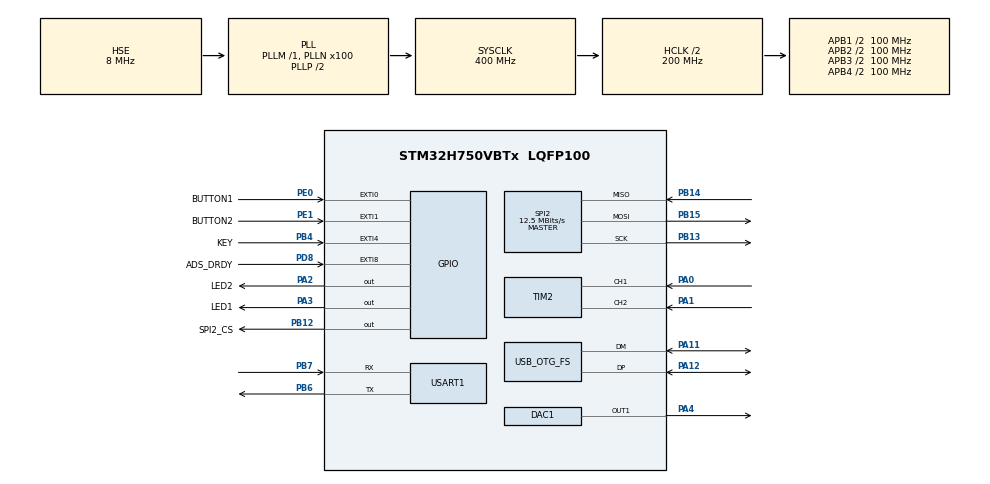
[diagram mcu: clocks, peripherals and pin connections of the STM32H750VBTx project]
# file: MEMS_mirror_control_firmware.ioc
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DAC1.DAC_Channel-DAC_OUT1=DAC_CHANNEL_1
DAC1.DAC_Trigger-DAC_OUT1=DAC_TRIGGER_T6_TRGO
Dma.DAC1_CH1.0.Direction=DMA_MEMORY_TO_PERIPH
Dma.DAC1_CH1.0.EventEnable=DISABLE
Dma.DAC1_CH1.0.FIFOMode=DMA_FIFOMODE_DISABLE
Dma.DAC1_CH1.0.Instance=DMA1_Stream0
Dma.DAC1_CH1.0.MemDataAlignment=DMA_MDATAALIGN_HALFWORD
Dma.DAC1_CH1.0.MemInc=DMA_MINC_ENABLE
Dma.DAC1_CH1.0.Mode=DMA_CIRCULAR
Dma.DAC1_CH1.0.PeriphDataAlignment=DMA_PDATAALIGN_HALFWORD
Dma.DAC1_CH1.0.PeriphInc=DMA_PINC_DISABLE
Dma.DAC1_CH1.0.Polarity=HAL_DMAMUX_REQ_GEN_RISING
Dma.DAC1_CH1.0.Priority=DMA_PRIORITY_LOW
Dma.DAC1_CH1.0.RequestNumber=1
Dma.DAC1_CH1.0.SignalID=NONE
Dma.DAC1_CH1.0.SyncEnable=DISABLE
Dma.DAC1_CH1.0.SyncPolarity=HAL_DMAMUX_SYNC_NO_EVENT
Dma.DAC1_CH1.0.SyncRequestNumber=1
Dma.DAC1_CH1.0.SyncSignalID=NONE
Dma.Request0=DAC1_CH1
Mcu.Family=STM32H7
Mcu.Name=STM32H750VBTx
Mcu.Package=LQFP100
NVIC.DMA1_Stream0_IRQn=true\:3\:0\:true\:false\:true\:false\:true\:true
NVIC.EXTI0_IRQn=true\:4\:0\:true\:false\:true\:true\:true\:false
NVIC.EXTI1_IRQn=true\:4\:0\:true\:false\:true\:true\:true\:false
NVIC.EXTI4_IRQn=true\:4\:0\:true\:false\:true\:true\:true\:false
NVIC.EXTI9_5_IRQn=true\:6\:0\:true\:false\:true\:true\:true\:false
NVIC.OTG_FS_IRQn=true\:2\:0\:true\:false\:true\:true\:true\:true
NVIC.PriorityGroup=NVIC_PRIORITYGROUP_4
NVIC.TIM2_IRQn=true\:0\:0\:false\:false\:true\:true\:true\:true
PA0.Signal=S_TIM2_CH1_ETR
PA1.Signal=S_TIM2_CH2
PA11.Mode=Device_Only
PA11.Signal=USB_OTG_FS_DM
PA12.Mode=Device_Only
PA12.Signal=USB_OTG_FS_DP
PA13\ (JTMS/SWDIO).Mode=Serial_Wire
PA13\ (JTMS/SWDIO).Signal=DEBUG_JTMS-SWDIO
PA14\ (JTCK/SWCLK).Mode=Serial_Wire
PA14\ (JTCK/SWCLK).Signal=DEBUG_JTCK-SWCLK
PA2.GPIO_Label=LED2
PA2.Signal=GPIO_Output
PA3.GPIO_Label=LED1
PA3.Signal=GPIO_Output
PA4.Signal=COMP_DAC11_group
PB12.GPIO_Label=SPI2_CS
PB12.GPIO_Speed=GPIO_SPEED_FREQ_VERY_HIGH
PB12.PinState=GPIO_PIN_SET
PB12.Signal=GPIO_Output
PB13.Mode=Full_Duplex_Master
PB13.Signal=SPI2_SCK
PB14.Mode=Full_Duplex_Master
PB14.Signal=SPI2_MISO
PB15.Mode=Full_Duplex_Master
PB15.Signal=SPI2_MOSI
PB4\ (NJTRST).GPIO_Label=KEY
PB4\ (NJTRST).GPIO_ModeDefaultEXTI=GPIO_MODE_IT_FALLING
PB4\ (NJTRST).Signal=GPXTI4
PB6.Mode=Asynchronous
PB6.Signal=USART1_TX
PB7.Mode=Asynchronous
PB7.Signal=USART1_RX
PD8.GPIO_Label=ADS_DRDY
PD8.GPIO_ModeDefaultEXTI=GPIO_MODE_IT_FALLING
PD8.Signal=GPXTI8
PE0.GPIO_Label=BUTTON1
PE0.Signal=GPXTI0
PE1.GPIO_Label=BUTTON2
PE1.Signal=GPXTI1
PH0-OSC_IN\ (PH0).Mode=HSE-External-Oscillator
PH0-OSC_IN\ (PH0).Signal=RCC_OSC_IN
PH1-OSC_OUT\ (PH1).Mode=HSE-External-Oscillator
PH1-OSC_OUT\ (PH1).Signal=RCC_OSC_OUT
ProjectManager.HeapSize=0x200
ProjectManager.StackSize=0x400
ProjectManager.TargetToolchain=MDK-ARM V5.32
RCC.ADCFreq_Value=16125000
RCC.APB1Freq_Value=100000000
RCC.APB2Freq_Value=100000000
RCC.APB3Freq_Value=100000000
RCC.APB4Freq_Value=100000000
RCC.CortexFreq_Value=400000000
RCC.D1PPRE=RCC_APB3_DIV2
RCC.D2PPRE1=RCC_APB1_DIV2
RCC.D2PPRE2=RCC_APB2_DIV2
RCC.D3PPRE=RCC_APB4_DIV2
RCC.DIVM1=1
RCC.DIVN1=100
RCC.DIVQ1=4
RCC.HCLKFreq_Value=200000000
RCC.HPRE=RCC_HCLK_DIV2
RCC.HSE_VALUE=8000000
RCC.PLLFRACN=0
RCC.PLLSourceVirtual=RCC_PLLSOURCE_HSE
RCC.SYSCLKFreq_VALUE=400000000
RCC.SYSCLKSource=RCC_SYSCLKSOURCE_PLLCLK
RCC.USBCLockSelection=RCC_USBCLKSOURCE_HSI48
RCC.USBFreq_Value=48000000
SH.COMP_DAC11_group.0=DAC1_OUT1,DAC_OUT1
SH.S_TIM2_CH1_ETR.0=TIM2_CH1,Encoder_Interface
SH.S_TIM2_CH2.0=TIM2_CH2,Encoder_Interface
SPI2.BaudRatePrescaler=SPI_BAUDRATEPRESCALER_16
SPI2.CLKPhase=SPI_PHASE_2EDGE
SPI2.CalculateBaudRate=12.5 MBits/s
SPI2.DataSize=SPI_DATASIZE_8BIT
SPI2.Direction=SPI_DIRECTION_2LINES
SPI2.Mode=SPI_MODE_MASTER
SPI2.NSSPMode=SPI_NSS_PULSE_DISABLE
SPI2.VirtualType=VM_MASTER
TIM2.EncoderMode=TIM_ENCODERMODE_TI12
TIM6.AutoReloadPreload=TIM_AUTORELOAD_PRELOAD_ENABLE
TIM6.Period=4324
TIM6.Prescaler=0
TIM6.TIM_MasterOutputTrigger=TIM_TRGO_UPDATE
USART1.VirtualMode-Asynchronous=VM_ASYNC
USB_DEVICE.CLASS_NAME_FS=CDC
USB_DEVICE.VirtualMode-CDC_FS=Cdc
USB_DEVICE.VirtualModeFS=Cdc_FS
USB_OTG_FS.VirtualMode=Device_Only
VP_TIM6_VS_ClockSourceINT.Mode=Enable_Timer
VP_USB_DEVICE_VS_USB_DEVICE_CDC_FS.Mode=CDC_FS
board=custom

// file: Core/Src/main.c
/* USER CODE BEGIN Header */
/**
  ******************************************************************************
  * @file           : main.c
  * @brief          : Main program body
  ******************************************************************************
  * @attention
  *
  * Copyright (c) 2023 STMicroelectronics.
  * All rights reserved.
  *
  * This software is licensed under terms that can be found in the LICENSE file
  * in the root directory of this software component.
  * If no LICENSE file comes with this software, it is provided AS-IS.
  *
  ******************************************************************************
  */
/* USER CODE END Header */
#include "main.h"
#include "dac.h"
#include "dma.h"
#include "spi.h"
#include "tim.h"
#include "usart.h"
#include "usb_device.h"
#include "gpio.h"

/* USER CODE BEGIN Includes */
#include "stdio.h"
#include "ADS1299_Library.h"
#include "lwrb.h"
#include "Debug.h"
#include "usbd_cdc_if.h"
/* USER CODE END Includes */

/* USER CODE BEGIN PTD */
uint8_t Direction;
uint32_t CaptureNumber;
/* USER CODE END PTD */

/* USER CODE BEGIN PD */
//const uint16_t Sine12bit[100]={
//0x0800,0x0881,0x0901,0x0980,0x09FD,0x0A79,0x0AF2,0x0B68,0x0BDA,0x0C49,
//0x0CB3,0x0D19,0x0D79,0x0DD4,0x0E29,0x0E78,0x0EC0,0x0F02,0x0F3C,0x0F6F,
//0x0F9B,0x0FBF,0x0FDB,0x0FEF,0x0FFB,0x0FFF,0x0FFB,0x0FEF,0x0FDB,0x0FBF,
//0x0F9B,0x0F6F,0x0F3C,0x0F02,0x0EC0,0x0E78,0x0E29,0x0DD4,0x0D79,0x0D19,
//0x0CB3,0x0C49,0x0BDA,0x0B68,0x0AF2,0x0A79,0x09FD,0x0980,0x0901,0x0881,
//0x0800,0x077F,0x06FF,0x0680,0x0603,0x0587,0x050E,0x0498,0x0426,0x03B7,
//0x034D,0x02E7,0x0287,0x022C,0x01D7,0x0188,0x0140,0x00FE,0x00C4,0x0091,
//0x0065,0x0041,0x0025,0x0011,0x0005,0x0001,0x0005,0x0011,0x0025,0x0041,
//0x0065,0x0091,0x00C4,0x00FE,0x0140,0x0188,0x01D7,0x022C,0x0287,0x02E7,
//0x034D,0x03B7,0x0426,0x0498,0x050E,0x0587,0x0603,0x0680,0x06FF,0x077F,
//};
uint16_t DualSine12bit[100] __attribute__ ((at(0x24020000)));
/* USER CODE END PD */

/* USER CODE BEGIN PM */
/* 固件版本*/
uint8_t version32[10]={"27.12.23"};
/* USER CODE END PM */

/* USER CODE BEGIN PV */
/** 单次数据发送长度 */
#define TEST_SEND_DATA_SIZE   1024
uint8_t  snd_data[TEST_SEND_DATA_SIZE];
/*--USB CDC资源部分--*/
		static size_t full_len;
		/** Ringbuf */
		lwrb_t lwrb_buff;
		uint8_t src_buff_data[100*1024] __attribute__ ((at(0x24000000)));//AXI SRAM
    /*存储每次DRDY采集的数据*/
    extern uint8_t eCon_Message[150];
    /*采样率选项，同时连接*/
    uint8_t SampleRate500[8]={0x55,0x66,0x52,0x41,0x54,0x45,0x01,0x0A};//0x52 0x41 0x54 0x45 = RATE
    uint8_t SampleRate1000[8]={0x55,0x66,0x52,0x41,0x54,0x45,0x02,0x0A};
    uint8_t SampleRate2000[8]={0x55,0x66,0x52,0x41,0x54,0x45,0x03,0x0A};
		uint8_t SampleRate4000[8]={0x55,0x66,0x52,0x41,0x54,0x45,0x04,0x0A};
		uint8_t SampleRate8000[8]={0x55,0x66,0x52,0x41,0x54,0x45,0x05,0x0A};
		uint8_t SampleRate16000[8]={0x55,0x66,0x52,0x41,0x54,0x45,0x06,0x0A};
    /*工作模式选项*/
    uint8_t Mode_impedance[8]={0x55,0x66,0x4D,0x4F,0x44,0x45,0x5A,0x0A};//0x4D 0x4F 0x44 0x45 = MODE
    uint8_t Mode_wave[8]={0x55,0x66,0x4D,0x4F,0x44,0x45,0x57,0x0A};
    uint8_t Mode_internalshort[8]={0x55,0x66,0x4D,0x4F,0x44,0x45,0x53,0x0A};
    uint8_t Mode_testsignal[8]={0x55,0x66,0x4D,0x4F,0x44,0x45,0x54,0x0A};
    uint8_t Mode_stop[8]={0x55,0x66,0x4D,0x4F,0x44,0x45,0x52,0x0A};
        /**当前工作状态*/
        uint8_t FT232_EEGstate;//"Z","W","S","T","R"
    /*断开连接*/
    uint8_t FT232_disconnect[8]={0x55,0x66,0x44,0x49,0x53,0x43,0x01,0x0A};//0x44 0x49 0x53 0x43 = DISC
        /**当前断开连接标志位*/
        uint8_t FT232_DISCflag;
    /*传输方式状态定义*/
    #define M8266Wireless  0
    #define FT232Wire      1
    /*数据传输方式*/
    uint8_t Transmission_form = M8266Wireless;
    /*采样率寄存器*/
    uint8_t SampleRateReg = SAMPLE_RATE_500;
/* USER CODE END PV */

void SystemClock_Config(void);

/* USER CODE BEGIN 0 */
extern uint8_t usb_rx_data[20];
uint8_t CDC_Transmit_FS(uint8_t* Buf, uint16_t Len);

extern USBD_HandleTypeDef hUsbDeviceFS;
extern uint8_t CDC_RX_flag;
void rx_commd()
{
	USBD_CDC_HandleTypeDef *hcdc = (USBD_CDC_HandleTypeDef*)hUsbDeviceFS.pClassData;
	if((CDC_RX_flag == 1) && (hcdc->TxState == 0)){
		CDC_RX_flag = 0;
        /**采样率msg*/
        if((memcmp(SampleRate500,usb_rx_data,8) == 0 ) || \
            (memcmp(SampleRate1000,usb_rx_data,8) == 0 ) || \
						(memcmp(SampleRate2000,usb_rx_data,8) == 0 ) || \
						(memcmp(SampleRate4000,usb_rx_data,8) == 0 ) || \
						(memcmp(SampleRate8000,usb_rx_data,8) == 0 ) || \
            (memcmp(SampleRate16000,usb_rx_data,8) == 0 ))    {
            CDC_Transmit_FS(usb_rx_data, 8);//Echo
            switch (usb_rx_data[6]) {
                case 1:
                    SampleRateReg = SAMPLE_RATE_500;
                    break;
                case 2:
                    SampleRateReg = SAMPLE_RATE_1000;
                    break;
                case 3:
                    SampleRateReg = SAMPLE_RATE_2000;
										break;
                case 4:
                    SampleRateReg = SAMPLE_RATE_4000;
										break;
                case 5:
                    SampleRateReg = SAMPLE_RATE_8000;
                    break;
                case 6:
                    SampleRateReg = SAMPLE_RATE_16000;
                    break;
                default:;
            }
            Transmission_form = FT232Wire;
            FT232_EEGstate = 'R';//连接之后ADS1299停止运行
        }

        if(Transmission_form == FT232Wire){
            /**运行模式msg*/
            if((memcmp(Mode_wave,usb_rx_data,8) == 0 ) || \
                (memcmp(Mode_impedance,usb_rx_data,8) == 0 ) || \
                (memcmp(Mode_internalshort,usb_rx_data,8) == 0 ) || \
                (memcmp(Mode_testsignal,usb_rx_data,8) == 0 ) || \
                (memcmp(Mode_stop,usb_rx_data,8) == 0 ) )
            {
                CDC_Transmit_FS(usb_rx_data, 8);//Echo
                switch (usb_rx_data[6]) {
                    case 'W':
                        FT232_EEGstate = 'W';
                        break;
                    case 'Z':
                        FT232_EEGstate = 'Z';
                        break;
                    case 'S':
                        FT232_EEGstate = 'S';
                        break;
                    case 'T':
                        FT232_EEGstate = 'T';
                        break;
                    case 'R':
                        FT232_EEGstate = 'R';
                        break;
                    default:;
                }//end of switch
            }
            /**断开连接msg*/
            if(memcmp(FT232_disconnect,usb_rx_data,8) == 0 ){
                FT232_DISCflag = 1;
                CDC_Transmit_FS(usb_rx_data, 8);//Echo
            }
        }//end of if(Transmission_form == FT232Wire)

        memset(usb_rx_data,0,sizeof(usb_rx_data));//清空接收数组
		}
}
/* USER CODE END 0 */

int main(void)
{

  /* MCU Configuration--------------------------------------------------------*/

  /* Reset of all peripherals, Initializes the Flash interface and the Systick. */
  HAL_Init();

  /* Configure the system clock */
  SystemClock_Config();

  /* Initialize all configured peripherals */
  MX_GPIO_Init();
  MX_DMA_Init();
  MX_USB_DEVICE_Init();
  MX_USART1_UART_Init();
  MX_DAC1_Init();
  MX_TIM6_Init();
  MX_SPI2_Init();
  MX_TIM2_Init();
  /* USER CODE BEGIN 2 */
		__HAL_GPIO_EXTI_CLEAR_IT(KEY_Pin);
		NVIC_ClearPendingIRQ(EXTI4_IRQn);
		HAL_NVIC_EnableIRQ(EXTI4_IRQn);
		/*lwrb初始化*/
		lwrb_init(&lwrb_buff, src_buff_data, sizeof(src_buff_data));
		/*Ads1299中断配置及初始化*/
		__HAL_GPIO_EXTI_CLEAR_IT(ADS_DRDY_Pin);
		NVIC_ClearPendingIRQ(EXTI9_5_IRQn);
		HAL_NVIC_EnableIRQ(EXTI9_5_IRQn);
		ADS_state_choose(STOP, SAMPLE_RATE_500);//进入低功耗模式

		_MSG_DBG("App start\n");
		/*开启DAC*/
		for (uint8_t Idx = 0; Idx <50; Idx++)
		{
			DualSine12bit[Idx] =50*sin(2*3.14159265358979f/50*Idx)+250;
		}
		HAL_TIM_Base_Start(&htim6);
		HAL_DAC_Start_DMA(&hdac1,DAC_CHANNEL_1,(uint32_t *)DualSine12bit,50,DAC_ALIGN_12B_R);

HAL_TIM_Encoder_Start(&htim2,TIM_CHANNEL_1|TIM_CHANNEL_2);

  /* USER CODE END 2 */

  /* Infinite loop */
  while (1)
  {

    /* USER CODE BEGIN 3 */
		rx_commd();
    /*有线传输*/
    if(Transmission_form == FT232Wire){
        /*数据发送*/
				full_len = lwrb_get_full(&lwrb_buff);//buffer里面缓存了多少数据
				if ((full_len >= Frame_len)) {//打包数据
					if(lwrb_read(&lwrb_buff,snd_data,Frame_len) != Frame_len) {
						_MSG_DBG("lwrb empty\n");
					}
					else
					CDC_Transmit_FS(snd_data, Frame_len);
				}
        /*指令接收*/
				/**运行模式msg*/
				if(FT232_EEGstate){
						ADS_state_choose(FT232_EEGstate,SampleRateReg);
						FT232_EEGstate = 0;//清空
				}
				/**断开连接msg*/
				if(FT232_DISCflag){
						FT232_DISCflag = 0;//清空
						ADS_state_choose(STOP,SAMPLE_RATE_500);//进入低功耗模式
						HAL_Delay(100);
				}
    }
  }
  /* USER CODE END 3 */
}

void SystemClock_Config(void)
{
  RCC_OscInitTypeDef RCC_OscInitStruct = {0};
  RCC_ClkInitTypeDef RCC_ClkInitStruct = {0};

  /** Supply configuration update enable
  */
  HAL_PWREx_ConfigSupply(PWR_LDO_SUPPLY);

  /** Configure the main internal regulator output voltage
  */
  __HAL_PWR_VOLTAGESCALING_CONFIG(PWR_REGULATOR_VOLTAGE_SCALE1);

  while(!__HAL_PWR_GET_FLAG(PWR_FLAG_VOSRDY)) {}

  /** Initializes the RCC Oscillators according to the specified parameters
  * in the RCC_OscInitTypeDef structure.
  */
  RCC_OscInitStruct.OscillatorType = RCC_OSCILLATORTYPE_HSI48|RCC_OSCILLATORTYPE_HSE;
  RCC_OscInitStruct.HSEState = RCC_HSE_ON;
  RCC_OscInitStruct.HSI48State = RCC_HSI48_ON;
  RCC_OscInitStruct.PLL.PLLState = RCC_PLL_ON;
  RCC_OscInitStruct.PLL.PLLSource = RCC_PLLSOURCE_HSE;
  RCC_OscInitStruct.PLL.PLLM = 1;
  RCC_OscInitStruct.PLL.PLLN = 100;
  RCC_OscInitStruct.PLL.PLLP = 2;
  RCC_OscInitStruct.PLL.PLLQ = 4;
  RCC_OscInitStruct.PLL.PLLR = 2;
  RCC_OscInitStruct.PLL.PLLRGE = RCC_PLL1VCIRANGE_3;
  RCC_OscInitStruct.PLL.PLLVCOSEL = RCC_PLL1VCOWIDE;
  RCC_OscInitStruct.PLL.PLLFRACN = 0;
  if (HAL_RCC_OscConfig(&RCC_OscInitStruct) != HAL_OK)
  {
    Error_Handler();
  }

  /** Initializes the CPU, AHB and APB buses clocks
  */
  RCC_ClkInitStruct.ClockType = RCC_CLOCKTYPE_HCLK|RCC_CLOCKTYPE_SYSCLK
                              |RCC_CLOCKTYPE_PCLK1|RCC_CLOCKTYPE_PCLK2
                              |RCC_CLOCKTYPE_D3PCLK1|RCC_CLOCKTYPE_D1PCLK1;
  RCC_ClkInitStruct.SYSCLKSource = RCC_SYSCLKSOURCE_PLLCLK;
  RCC_ClkInitStruct.SYSCLKDivider = RCC_SYSCLK_DIV1;
  RCC_ClkInitStruct.AHBCLKDivider = RCC_HCLK_DIV2;
  RCC_ClkInitStruct.APB3CLKDivider = RCC_APB3_DIV2;
  RCC_ClkInitStruct.APB1CLKDivider = RCC_APB1_DIV2;
  RCC_ClkInitStruct.APB2CLKDivider = RCC_APB2_DIV2;
  RCC_ClkInitStruct.APB4CLKDivider = RCC_APB4_DIV2;

  if (HAL_RCC_ClockConfig(&RCC_ClkInitStruct, FLASH_LATENCY_2) != HAL_OK)
  {
    Error_Handler();
  }
}

/* USER CODE BEGIN 4 */
/**
 * 外部引脚中断
 * */
void HAL_GPIO_EXTI_Callback(uint16_t GPIO_Pin)
{

    /*ADS1299中断*/
    if(GPIO_Pin == ADS_DRDY_Pin) {
       updateBoardData();
    }
		if(GPIO_Pin == KEY_Pin) {
			HAL_DAC_Stop(&hdac1,DAC_CHANNEL_1);
			HAL_NVIC_EnableIRQ(DMA1_Stream0_IRQn);
		}

}

/**
*systick毫秒级中断
*/
uint8_t count_ms = 0;
uint8_t old_Direction=0;
uint32_t new_CaptureNumber=8648;

//顺时针：0 ; 逆时针：1
void HAL_SYSTICK_Callback(void)
{
	count_ms++;
	if(count_ms == 10){
		count_ms = 0;

    Direction=__HAL_TIM_IS_TIM_COUNTING_DOWN(&htim2); //读取编码器旋转方向
    CaptureNumber=__HAL_TIM_GET_COUNTER(&htim2);   //读取脉冲计数值
		if((Direction == 0) && (CaptureNumber != 0)) {
			new_CaptureNumber = new_CaptureNumber + CaptureNumber;
			__HAL_TIM_SET_AUTORELOAD(&htim6,new_CaptureNumber);
		}
		else if((Direction == 1) && (CaptureNumber != 0)) {
			new_CaptureNumber = new_CaptureNumber - (4294967295-CaptureNumber);
			__HAL_TIM_SET_AUTORELOAD(&htim6,new_CaptureNumber);
		}
		__HAL_TIM_SET_COUNTER(&htim2,0);
	}

}
/* USER CODE END 4 */

void Error_Handler(void)
{
  __disable_irq();
  while (1)
  {
  }
}
